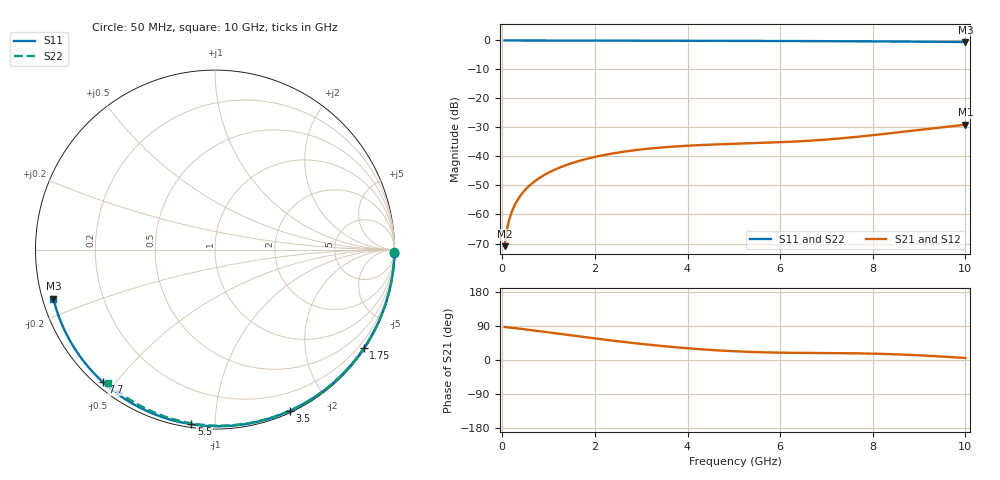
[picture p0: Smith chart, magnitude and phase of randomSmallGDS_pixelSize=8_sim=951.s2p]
! freq	dB(S11)	phase(S11)	dB(S12)	phase(S12)
!  dB(S21)	phase(S21)	dB(S22)	phase(S22)
!S-par simulation data
#  GHz  S  DB  R 50
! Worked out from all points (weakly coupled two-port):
!   200 points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, 50 MHz to 10 GHz, reference 50 ohm
!   highest |S21| = -29.04 dB at 10 GHz (marker M1); lowest = -70.9 dB at 50 MHz (marker M2)
!   lowest |S11| = -0.5 dB at 10 GHz (marker M3), VSWR 32.95, Z = 1.55 - j7.41 ohm
!   |S11| at or under -10 dB: nowhere
!   |S22| runs from -0.4 to 0.0 dB; largest |S21 - S12| = 0
!   S11 on the Smith chart (normalised r, x): 50 MHz: open; 1.75 GHz: 0.03, -3.32; 3.5 GHz: 0.02, -1.57; 5.5 GHz: 0.02, -0.87; 7.7 GHz: 0.02, -0.46; 10 GHz: 0.03, -0.15
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0.05  -0.00 -1.0  -70.92 87.2  -70.92 87.2  -0.00 -0.8
0.1  -0.00 -2.0  -65.11 86.2  -65.11 86.2  -0.00 -1.5
0.15  -0.00 -2.9  -61.70 85.7  -61.70 85.7  -0.00 -2.3
0.2  -0.00 -3.9  -59.26 85.1  -59.26 85.1  -0.00 -3.0
0.25  -0.00 -4.9  -57.36 84.5  -57.36 84.5  -0.00 -3.8
0.35  -0.01 -6.8  -54.47 83.1  -54.47 83.1  -0.00 -5.3
0.5  -0.01 -9.8  -51.42 80.8  -51.42 80.8  -0.01 -7.5
0.7  -0.02 -13.6  -48.55 77.6  -48.55 77.6  -0.01 -10.5
1  -0.02 -19.4  -45.56 72.7  -45.56 72.7  -0.02 -15.0
1.35  -0.03 -26.0  -43.12 67.0  -43.12 67.0  -0.03 -20.1
1.75  -0.04 -33.6  -41.12 60.6  -41.12 60.6  -0.03 -26.0
2.5  -0.06 -47.3  -38.64 49.4  -38.64 49.4  -0.05 -36.8
3.4  -0.08 -63.3  -36.95 37.5  -36.95 37.5  -0.07 -49.4
3.5  -0.09 -65.0  -36.82 36.3  -36.82 36.3  -0.07 -50.8
4.25  -0.11 -77.7  -36.09 28.6  -36.09 28.6  -0.09 -60.9
5.05  -0.14 -90.6  -35.61 22.8  -35.61 22.8  -0.11 -71.3
5.5  -0.16 -97.7  -35.38 20.8  -35.38 20.8  -0.12 -77.0
6.7  -0.22 -115.8  -34.50 18.6  -34.50 18.6  -0.18 -91.7
7.7  -0.29 -130.3  -33.16 17.5  -33.16 17.5  -0.23 -103.4
8.35  -0.35 -139.5  -32.04 15.6  -32.04 15.6  -0.28 -110.7
9.2  -0.43 -151.6  -30.48 11.1  -30.48 11.1  -0.35 -120.1
10  -0.53 -163.1  -29.04 5.3  -29.04 5.3  -0.43 -128.7
